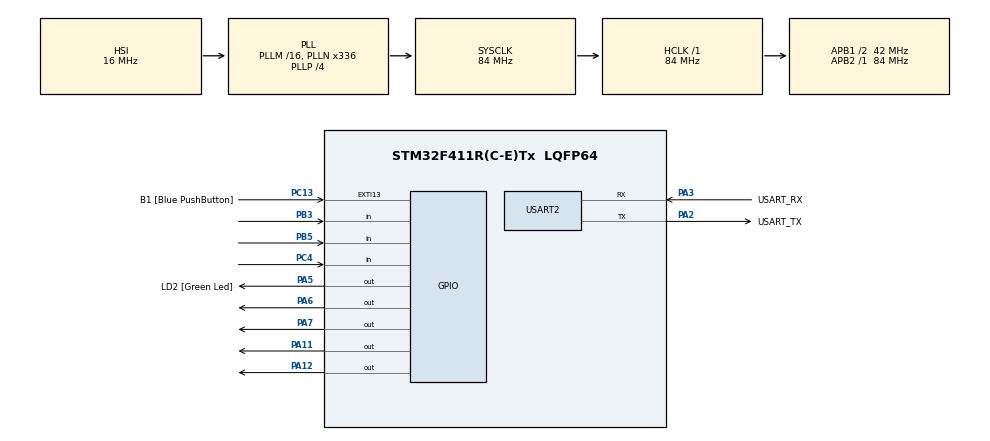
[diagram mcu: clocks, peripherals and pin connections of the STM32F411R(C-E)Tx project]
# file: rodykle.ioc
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Mcu.Family=STM32F4
Mcu.Name=STM32F411R(C-E)Tx
Mcu.Package=LQFP64
NVIC.PriorityGroup=NVIC_PRIORITYGROUP_0
PA11.Signal=GPIO_Output
PA12.Signal=GPIO_Output
PA13.GPIO_Label=TMS
PA13.Mode=Serial_Wire
PA13.Signal=SYS_JTMS-SWDIO
PA14.GPIO_Label=TCK
PA14.Mode=Serial_Wire
PA14.Signal=SYS_JTCK-SWCLK
PA2.GPIO_Label=USART_TX
PA2.Mode=Asynchronous
PA2.Signal=USART2_TX
PA3.GPIO_Label=USART_RX
PA3.Mode=Asynchronous
PA3.Signal=USART2_RX
PA5.GPIO_Label=LD2 [Green Led]
PA5.Signal=GPIO_Output
PA6.Signal=GPIO_Output
PA7.Signal=GPIO_Output
PB3.Signal=GPIO_Input
PB5.Signal=GPIO_Input
PC13-ANTI_TAMP.GPIO_Label=B1 [Blue PushButton]
PC13-ANTI_TAMP.GPIO_ModeDefaultEXTI=GPIO_MODE_IT_FALLING
PC13-ANTI_TAMP.Signal=GPXTI13
PC14-OSC32_IN.Mode=LSE-External-Oscillator
PC14-OSC32_IN.Signal=RCC_OSC32_IN
PC15-OSC32_OUT.Mode=LSE-External-Oscillator
PC15-OSC32_OUT.Signal=RCC_OSC32_OUT
PC4.Signal=GPIO_Input
PH0\ -\ OSC_IN.Mode=HSE-External-Clock-Source
PH0\ -\ OSC_IN.Signal=RCC_OSC_IN
PH1\ -\ OSC_OUT.Mode=HSE-External-Clock-Source
PH1\ -\ OSC_OUT.Signal=RCC_OSC_OUT
ProjectManager.HeapSize=0x200
ProjectManager.StackSize=0x400
ProjectManager.TargetToolchain=STM32CubeIDE
RCC.48MHZClocksFreq_Value=84000000
RCC.AHBFreq_Value=84000000
RCC.APB1CLKDivider=RCC_HCLK_DIV2
RCC.APB1Freq_Value=42000000
RCC.APB1TimFreq_Value=84000000
RCC.APB2Freq_Value=84000000
RCC.APB2TimFreq_Value=84000000
RCC.CortexFreq_Value=84000000
RCC.FLatency-AdvancedSettings=FLASH_LATENCY_2
RCC.HCLKFreq_Value=84000000
RCC.HSE_VALUE=8000000
RCC.HSI_VALUE=16000000
RCC.PLLN=336
RCC.PLLP=RCC_PLLP_DIV4
RCC.SYSCLKFreq_VALUE=84000000
RCC.SYSCLKSource=RCC_SYSCLKSOURCE_PLLCLK
RCC.VCOOutputFreq_Value=336000000
USART2.VirtualMode=VM_ASYNC
board=NUCLEO-F411RE

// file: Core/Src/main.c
/* USER CODE BEGIN Header */
/**
  ******************************************************************************
  * @file           : main.c
  * @brief          : Main program body
  ******************************************************************************
  * @attention
  *
  * Copyright (c) 2024 STMicroelectronics.
  * All rights reserved.
  *
  * This software is licensed under terms that can be found in the LICENSE file
  * in the root directory of this software component.
  * If no LICENSE file comes with this software, it is provided AS-IS.
  *
  ******************************************************************************
  */
/* USER CODE END Header */
#include "main.h"

UART_HandleTypeDef huart2;

/* USER CODE BEGIN PV */
char buffer[40];
#define single_push 500
uint32_t last_time;

/* USER CODE END PV */

void SystemClock_Config(void);
static void MX_GPIO_Init(void);
static void MX_USART2_UART_Init(void);

int main(void)
{

  /* MCU Configuration--------------------------------------------------------*/

  /* Reset of all peripherals, Initializes the Flash interface and the Systick. */
  HAL_Init();

  /* Configure the system clock */
  SystemClock_Config();

  /* Initialize all configured peripherals */
  MX_GPIO_Init();
  MX_USART2_UART_Init();
  /* USER CODE BEGIN 2 */

  last_time = HAL_GetTick();
  int i=0, a =0, f=0, b=0;
  do {
 		  HAL_GPIO_WritePin(GPIOA, GPIO_PIN_6, GPIO_PIN_SET);
 		  	            HAL_Delay(5);
 		  	        	HAL_GPIO_WritePin(GPIOA, GPIO_PIN_6, GPIO_PIN_RESET);
 		  	            HAL_GPIO_WritePin(GPIOA, GPIO_PIN_7, GPIO_PIN_SET);
 		  	            HAL_Delay(5);
 		  	            HAL_GPIO_WritePin(GPIOA, GPIO_PIN_7, GPIO_PIN_RESET);
 		  	            HAL_GPIO_WritePin(GPIOA, GPIO_PIN_11, GPIO_PIN_SET);
 		  	            HAL_Delay(5);
 		  	            HAL_GPIO_WritePin(GPIOA, GPIO_PIN_11, GPIO_PIN_RESET);
 		  	            HAL_GPIO_WritePin(GPIOA, GPIO_PIN_12, GPIO_PIN_SET);
 		  	            HAL_Delay(5);
 		    	        HAL_GPIO_WritePin(GPIOA, GPIO_PIN_12, GPIO_PIN_RESET);
 		    	           i++;
 		    	          sprintf(buffer, "SET ARROW TO ZERO \r\n");
 		    	         	           			  HAL_UART_Transmit(&huart2, buffer, sizeof(buffer), HAL_MAX_DELAY);
 	  }
 	while(i < 40);

  /* USER CODE END 2 */

  /* Infinite loop */
  while (1)
  {
/*
 */
	  if(HAL_GPIO_ReadPin (GPIOB, GPIO_PIN_3) )
	        {
		  if(b < f){

	  if((HAL_GetTick()-last_time>single_push)) {
	 	   	 		  last_time = HAL_GetTick();

	 	   	 						 HAL_GPIO_WritePin(GPIOA, GPIO_PIN_6, GPIO_PIN_SET);
	 	   	 			            HAL_Delay(10);
	 	   	 			        	HAL_GPIO_WritePin(GPIOA, GPIO_PIN_6, GPIO_PIN_RESET);
	 	   	 			            HAL_GPIO_WritePin(GPIOA, GPIO_PIN_7, GPIO_PIN_SET);
	 	 	   	 			       HAL_Delay(10);
	 	   	 			            HAL_GPIO_WritePin(GPIOA, GPIO_PIN_7, GPIO_PIN_RESET);
	 	   	 			            HAL_GPIO_WritePin(GPIOA, GPIO_PIN_11, GPIO_PIN_SET);
	 	 	   	 			       HAL_Delay(10);
	 	   	 			            HAL_GPIO_WritePin(GPIOA, GPIO_PIN_11, GPIO_PIN_RESET);
	 	   	 			            HAL_GPIO_WritePin(GPIOA, GPIO_PIN_12, GPIO_PIN_SET);
	 	 	   	 			       HAL_Delay(10);
	 	 	   	 			       HAL_GPIO_WritePin(GPIOA, GPIO_PIN_12, GPIO_PIN_RESET);
	 	 	   	 			       HAL_Delay(10);
b++;
a = f -b;

	 	   	 			            sprintf(buffer, "ST"
	 	   	 			            		"STEP BACK, STEPS %d \r\n", a);
	 	   	 			           			  HAL_UART_Transmit(&huart2, buffer, sizeof(buffer), HAL_MAX_DELAY);
	  }

	  }}

	  if(HAL_GPIO_ReadPin (GPIOB, GPIO_PIN_5))
		        {
		  if((HAL_GetTick()-last_time > single_push)) {
		  	 	   	 		  last_time = HAL_GetTick();

		            HAL_GPIO_WritePin(GPIOA, GPIO_PIN_12, GPIO_PIN_SET);
  	 			       HAL_Delay(10);
		        	HAL_GPIO_WritePin(GPIOA, GPIO_PIN_12, GPIO_PIN_RESET);
		            HAL_GPIO_WritePin(GPIOA, GPIO_PIN_11, GPIO_PIN_SET);
  	 			       HAL_Delay(10);
		            HAL_GPIO_WritePin(GPIOA, GPIO_PIN_11, GPIO_PIN_RESET);
		            HAL_GPIO_WritePin(GPIOA, GPIO_PIN_7, GPIO_PIN_SET);
  	 			       HAL_Delay(10);
		            HAL_GPIO_WritePin(GPIOA, GPIO_PIN_7, GPIO_PIN_RESET);
		            HAL_GPIO_WritePin(GPIOA, GPIO_PIN_6, GPIO_PIN_SET);
  	 			       HAL_Delay(10);
	  	            HAL_GPIO_WritePin(GPIOA, GPIO_PIN_6, GPIO_PIN_RESET);
  	 			       HAL_Delay(10);
  	 			       f++;
  	 			    a = f -b;

		            sprintf(buffer, "STEP FORWARD, STEPS %d \r\n", a);
		           			  HAL_UART_Transmit(&huart2, buffer, sizeof(buffer), HAL_MAX_DELAY);
		        }}

  }
}

void SystemClock_Config(void)
{
  RCC_OscInitTypeDef RCC_OscInitStruct = {0};
  RCC_ClkInitTypeDef RCC_ClkInitStruct = {0};

  /** Configure the main internal regulator output voltage
  */
  __HAL_RCC_PWR_CLK_ENABLE();
  __HAL_PWR_VOLTAGESCALING_CONFIG(PWR_REGULATOR_VOLTAGE_SCALE1);

  /** Initializes the RCC Oscillators according to the specified parameters
  * in the RCC_OscInitTypeDef structure.
  */
  RCC_OscInitStruct.OscillatorType = RCC_OSCILLATORTYPE_HSI;
  RCC_OscInitStruct.HSIState = RCC_HSI_ON;
  RCC_OscInitStruct.HSICalibrationValue = RCC_HSICALIBRATION_DEFAULT;
  RCC_OscInitStruct.PLL.PLLState = RCC_PLL_ON;
  RCC_OscInitStruct.PLL.PLLSource = RCC_PLLSOURCE_HSI;
  RCC_OscInitStruct.PLL.PLLM = 16;
  RCC_OscInitStruct.PLL.PLLN = 336;
  RCC_OscInitStruct.PLL.PLLP = RCC_PLLP_DIV4;
  RCC_OscInitStruct.PLL.PLLQ = 4;
  if (HAL_RCC_OscConfig(&RCC_OscInitStruct) != HAL_OK)
  {
    Error_Handler();
  }

  /** Initializes the CPU, AHB and APB buses clocks
  */
  RCC_ClkInitStruct.ClockType = RCC_CLOCKTYPE_HCLK|RCC_CLOCKTYPE_SYSCLK
                              |RCC_CLOCKTYPE_PCLK1|RCC_CLOCKTYPE_PCLK2;
  RCC_ClkInitStruct.SYSCLKSource = RCC_SYSCLKSOURCE_PLLCLK;
  RCC_ClkInitStruct.AHBCLKDivider = RCC_SYSCLK_DIV1;
  RCC_ClkInitStruct.APB1CLKDivider = RCC_HCLK_DIV2;
  RCC_ClkInitStruct.APB2CLKDivider = RCC_HCLK_DIV1;

  if (HAL_RCC_ClockConfig(&RCC_ClkInitStruct, FLASH_LATENCY_2) != HAL_OK)
  {
    Error_Handler();
  }
}

static void MX_USART2_UART_Init(void)
{

  huart2.Instance = USART2;
  huart2.Init.BaudRate = 115200;
  huart2.Init.WordLength = UART_WORDLENGTH_8B;
  huart2.Init.StopBits = UART_STOPBITS_1;
  huart2.Init.Parity = UART_PARITY_NONE;
  huart2.Init.Mode = UART_MODE_TX_RX;
  huart2.Init.HwFlowCtl = UART_HWCONTROL_NONE;
  huart2.Init.OverSampling = UART_OVERSAMPLING_16;
  if (HAL_UART_Init(&huart2) != HAL_OK)
  {
    Error_Handler();
  }

}

static void MX_GPIO_Init(void)
{
  GPIO_InitTypeDef GPIO_InitStruct = {0};

  /* GPIO Ports Clock Enable */
  __HAL_RCC_GPIOC_CLK_ENABLE();
  __HAL_RCC_GPIOH_CLK_ENABLE();
  __HAL_RCC_GPIOA_CLK_ENABLE();
  __HAL_RCC_GPIOB_CLK_ENABLE();

  /*Configure GPIO pin Output Level */
  HAL_GPIO_WritePin(GPIOA, LD2_Pin|GPIO_PIN_6|GPIO_PIN_7|GPIO_PIN_11
                          |GPIO_PIN_12, GPIO_PIN_RESET);

  /*Configure GPIO pin : B1_Pin */
  GPIO_InitStruct.Pin = B1_Pin;
  GPIO_InitStruct.Mode = GPIO_MODE_IT_FALLING;
  GPIO_InitStruct.Pull = GPIO_NOPULL;
  HAL_GPIO_Init(B1_GPIO_Port, &GPIO_InitStruct);

  /*Configure GPIO pins : LD2_Pin PA6 PA7 PA11
                           PA12 */
  GPIO_InitStruct.Pin = LD2_Pin|GPIO_PIN_6|GPIO_PIN_7|GPIO_PIN_11
                          |GPIO_PIN_12;
  GPIO_InitStruct.Mode = GPIO_MODE_OUTPUT_PP;
  GPIO_InitStruct.Pull = GPIO_NOPULL;
  GPIO_InitStruct.Speed = GPIO_SPEED_FREQ_LOW;
  HAL_GPIO_Init(GPIOA, &GPIO_InitStruct);

  /*Configure GPIO pin : PC4 */
  GPIO_InitStruct.Pin = GPIO_PIN_4;
  GPIO_InitStruct.Mode = GPIO_MODE_INPUT;
  GPIO_InitStruct.Pull = GPIO_NOPULL;
  HAL_GPIO_Init(GPIOC, &GPIO_InitStruct);

  /*Configure GPIO pins : PB3 PB5 */
  GPIO_InitStruct.Pin = GPIO_PIN_3|GPIO_PIN_5;
  GPIO_InitStruct.Mode = GPIO_MODE_INPUT;
  GPIO_InitStruct.Pull = GPIO_NOPULL;
  HAL_GPIO_Init(GPIOB, &GPIO_InitStruct);

}

void Error_Handler(void)
{
  __disable_irq();
  while (1)
  {
  }
}
